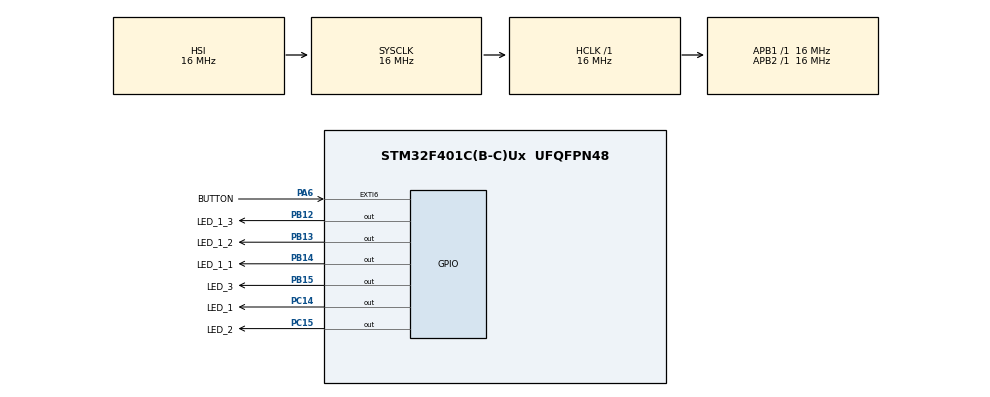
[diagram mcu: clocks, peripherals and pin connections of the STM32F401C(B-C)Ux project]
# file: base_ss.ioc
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Mcu.Family=STM32F4
Mcu.Name=STM32F401C(B-C)Ux
Mcu.Package=UFQFPN48
NVIC.EXTI9_5_IRQn=true\:0\:0\:false\:false\:true\:true\:true\:true
NVIC.PriorityGroup=NVIC_PRIORITYGROUP_4
PA6.GPIO_Label=BUTTON
PA6.Signal=GPXTI6
PB12.GPIO_Label=LED_1_3
PB12.PinState=GPIO_PIN_SET
PB12.Signal=GPIO_Output
PB13.GPIO_Label=LED_1_2
PB13.PinState=GPIO_PIN_SET
PB13.Signal=GPIO_Output
PB14.GPIO_Label=LED_1_1
PB14.PinState=GPIO_PIN_RESET
PB14.Signal=GPIO_Output
PB15.GPIO_Label=LED_3
PB15.PinState=GPIO_PIN_RESET
PB15.Signal=GPIO_Output
PC14-OSC32_IN.GPIO_Label=LED_1
PC14-OSC32_IN.PinState=GPIO_PIN_SET
PC14-OSC32_IN.Signal=GPIO_Output
PC15-OSC32_OUT.GPIO_Label=LED_2
PC15-OSC32_OUT.PinState=GPIO_PIN_SET
PC15-OSC32_OUT.Signal=GPIO_Output
ProjectManager.HeapSize=0x200
ProjectManager.StackSize=0x400
ProjectManager.TargetToolchain=STM32CubeIDE
RCC.AHBFreq_Value=16000000
RCC.APB1Freq_Value=16000000
RCC.APB2Freq_Value=16000000
RCC.CortexFreq_Value=16000000
RCC.HSE_VALUE=25000000
RCC.HSI_VALUE=16000000
RCC.LSE_VALUE=32768
RCC.SYSCLKFreq_VALUE=16000000
RCC.VCOOutputFreq_Value=192000000
board=custom

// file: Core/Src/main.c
/* USER CODE BEGIN Header */
/**
  ******************************************************************************
  * @file           : main.c
  * @brief          : Main program body
  ******************************************************************************
  * @attention
  *
  * Copyright (c) 2022 STMicroelectronics.
  * All rights reserved.
  *
  * This software is licensed under terms that can be found in the LICENSE file
  * in the root directory of this software component.
  * If no LICENSE file comes with this software, it is provided AS-IS.
  *
  ******************************************************************************
  */
/* USER CODE END Header */
#include "main.h"

/* USER CODE BEGIN PV */

typedef enum
{
simple,
first_it,
} FSM_STATES;
FSM_STATES FSM_STATE = simple;

/* USER CODE END PV */

void SystemClock_Config(void);
static void MX_GPIO_Init(void);
/* USER CODE BEGIN PFP */
void switching(GPIO_TypeDef** GPIOx, uint16_t* GPIO_Pin);
/* USER CODE END PFP */

int main(void)
{

  /* MCU Configuration--------------------------------------------------------*/

  /* Reset of all peripherals, Initializes the Flash interface and the Systick. */
  HAL_Init();

  /* Configure the system clock */
  SystemClock_Config();

  /* Initialize all configured peripherals */
  MX_GPIO_Init();

  /* Infinite loop */
  /* USER CODE BEGIN WHILE */
  while (1)
  {
	  if(FSM_STATE == first_it)
	  	  {
		  HAL_Delay(4000);
		  uint16_t Pin_mass_1[] = {LED_2_Pin,LED_3_Pin,LED_1_1_Pin,LED_1_2_Pin};
		  GPIO_TypeDef* Port_mass_1[] = {LED_2_GPIO_Port,LED_3_GPIO_Port,LED_1_1_GPIO_Port,LED_1_2_GPIO_Port};
		  switching(&Port_mass_1,&Pin_mass_1);
		  HAL_Delay(1000);
		  uint16_t Pin_mass_2[] = {LED_1_Pin,LED_2_Pin,LED_1_2_Pin,LED_1_3_Pin};
		  GPIO_TypeDef* Port_mass_2[] = {LED_1_GPIO_Port,LED_2_GPIO_Port,LED_1_2_GPIO_Port,LED_1_3_GPIO_Port};
		  for(int i = 0;i <= 1;i ++)
		  	 {
			  switching(&Port_mass_2,&Pin_mass_2);
			  if(i == 0){HAL_Delay(4000);}else{HAL_Delay(1000);}
		  	 }
		  switching(&Port_mass_1,&Pin_mass_1);
		  FSM_STATE = simple;
	  	  }

    /* USER CODE END WHILE */

  }
}

void SystemClock_Config(void)
{
  RCC_OscInitTypeDef RCC_OscInitStruct = {0};
  RCC_ClkInitTypeDef RCC_ClkInitStruct = {0};

  /** Configure the main internal regulator output voltage
  */
  __HAL_RCC_PWR_CLK_ENABLE();
  __HAL_PWR_VOLTAGESCALING_CONFIG(PWR_REGULATOR_VOLTAGE_SCALE2);

  /** Initializes the RCC Oscillators according to the specified parameters
  * in the RCC_OscInitTypeDef structure.
  */
  RCC_OscInitStruct.OscillatorType = RCC_OSCILLATORTYPE_HSI;
  RCC_OscInitStruct.HSIState = RCC_HSI_ON;
  RCC_OscInitStruct.HSICalibrationValue = RCC_HSICALIBRATION_DEFAULT;
  RCC_OscInitStruct.PLL.PLLState = RCC_PLL_NONE;
  if (HAL_RCC_OscConfig(&RCC_OscInitStruct) != HAL_OK)
  {
    Error_Handler();
  }

  /** Initializes the CPU, AHB and APB buses clocks
  */
  RCC_ClkInitStruct.ClockType = RCC_CLOCKTYPE_HCLK|RCC_CLOCKTYPE_SYSCLK
                              |RCC_CLOCKTYPE_PCLK1|RCC_CLOCKTYPE_PCLK2;
  RCC_ClkInitStruct.SYSCLKSource = RCC_SYSCLKSOURCE_HSI;
  RCC_ClkInitStruct.AHBCLKDivider = RCC_SYSCLK_DIV1;
  RCC_ClkInitStruct.APB1CLKDivider = RCC_HCLK_DIV1;
  RCC_ClkInitStruct.APB2CLKDivider = RCC_HCLK_DIV1;

  if (HAL_RCC_ClockConfig(&RCC_ClkInitStruct, FLASH_LATENCY_0) != HAL_OK)
  {
    Error_Handler();
  }
}

static void MX_GPIO_Init(void)
{
  GPIO_InitTypeDef GPIO_InitStruct = {0};

  /* GPIO Ports Clock Enable */
  __HAL_RCC_GPIOC_CLK_ENABLE();
  __HAL_RCC_GPIOA_CLK_ENABLE();
  __HAL_RCC_GPIOB_CLK_ENABLE();

  /*Configure GPIO pin Output Level */
  HAL_GPIO_WritePin(GPIOC, LED_1_Pin|LED_2_Pin, GPIO_PIN_SET);

  /*Configure GPIO pin Output Level */
  HAL_GPIO_WritePin(GPIOB, LED_1_3_Pin|LED_1_2_Pin, GPIO_PIN_SET);

  /*Configure GPIO pin Output Level */
  HAL_GPIO_WritePin(GPIOB, LED_1_1_Pin|LED_3_Pin, GPIO_PIN_RESET);

  /*Configure GPIO pins : LED_1_Pin LED_2_Pin */
  GPIO_InitStruct.Pin = LED_1_Pin|LED_2_Pin;
  GPIO_InitStruct.Mode = GPIO_MODE_OUTPUT_PP;
  GPIO_InitStruct.Pull = GPIO_NOPULL;
  GPIO_InitStruct.Speed = GPIO_SPEED_FREQ_LOW;
  HAL_GPIO_Init(GPIOC, &GPIO_InitStruct);

  /*Configure GPIO pin : BUTTON_Pin */
  GPIO_InitStruct.Pin = BUTTON_Pin;
  GPIO_InitStruct.Mode = GPIO_MODE_IT_RISING;
  GPIO_InitStruct.Pull = GPIO_NOPULL;
  HAL_GPIO_Init(BUTTON_GPIO_Port, &GPIO_InitStruct);

  /*Configure GPIO pins : LED_1_3_Pin LED_1_2_Pin LED_1_1_Pin LED_3_Pin */
  GPIO_InitStruct.Pin = LED_1_3_Pin|LED_1_2_Pin|LED_1_1_Pin|LED_3_Pin;
  GPIO_InitStruct.Mode = GPIO_MODE_OUTPUT_PP;
  GPIO_InitStruct.Pull = GPIO_NOPULL;
  GPIO_InitStruct.Speed = GPIO_SPEED_FREQ_LOW;
  HAL_GPIO_Init(GPIOB, &GPIO_InitStruct);

  /* EXTI interrupt init*/
  HAL_NVIC_SetPriority(EXTI9_5_IRQn, 0, 0);
  HAL_NVIC_EnableIRQ(EXTI9_5_IRQn);

}

/* USER CODE BEGIN 4 */
void HAL_GPIO_EXTI_Callback(uint16_t GPIO_Pin)
{
	FSM_STATE = first_it;
}
void switching(GPIO_TypeDef** GPIOx, uint16_t* GPIO_Pin)
{
	for(int i = 0;i <= 3;i++)
	{
		HAL_GPIO_TogglePin(*(GPIOx + i),*(GPIO_Pin + i));
	}
}
/* USER CODE END 4 */

void Error_Handler(void)
{
  __disable_irq();
  while (1)
  {
  }
}
